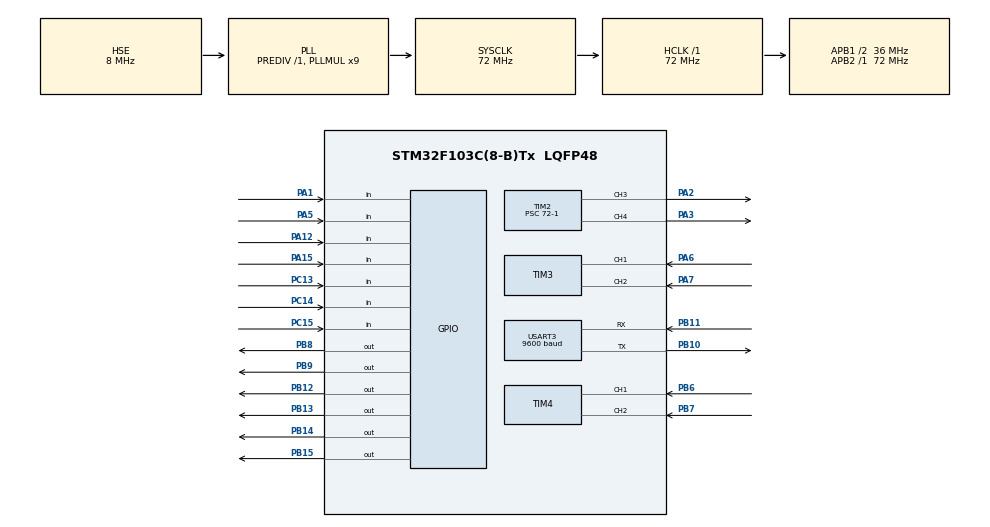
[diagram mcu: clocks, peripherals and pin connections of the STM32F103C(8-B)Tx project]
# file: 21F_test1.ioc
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Dma.Request0=USART3_RX
Dma.Request1=USART3_TX
Dma.USART3_RX.0.Direction=DMA_PERIPH_TO_MEMORY
Dma.USART3_RX.0.Instance=DMA1_Channel3
Dma.USART3_RX.0.MemDataAlignment=DMA_MDATAALIGN_BYTE
Dma.USART3_RX.0.MemInc=DMA_MINC_ENABLE
Dma.USART3_RX.0.Mode=DMA_NORMAL
Dma.USART3_RX.0.PeriphDataAlignment=DMA_PDATAALIGN_BYTE
Dma.USART3_RX.0.PeriphInc=DMA_PINC_DISABLE
Dma.USART3_RX.0.Priority=DMA_PRIORITY_HIGH
Dma.USART3_TX.1.Direction=DMA_MEMORY_TO_PERIPH
Dma.USART3_TX.1.Instance=DMA1_Channel2
Dma.USART3_TX.1.MemDataAlignment=DMA_MDATAALIGN_BYTE
Dma.USART3_TX.1.MemInc=DMA_MINC_ENABLE
Dma.USART3_TX.1.Mode=DMA_NORMAL
Dma.USART3_TX.1.PeriphDataAlignment=DMA_PDATAALIGN_BYTE
Dma.USART3_TX.1.PeriphInc=DMA_PINC_DISABLE
Dma.USART3_TX.1.Priority=DMA_PRIORITY_LOW
Mcu.Family=STM32F1
Mcu.Name=STM32F103C(8-B)Tx
Mcu.Package=LQFP48
NVIC.DMA1_Channel2_IRQn=true\:0\:0\:false\:false\:true\:false\:true\:true
NVIC.DMA1_Channel3_IRQn=true\:0\:0\:false\:false\:true\:false\:true\:true
NVIC.PriorityGroup=NVIC_PRIORITYGROUP_4
NVIC.TIM1_UP_IRQn=true\:14\:0\:true\:false\:true\:true\:true\:true
NVIC.USART3_IRQn=true\:15\:0\:true\:false\:true\:true\:true\:true
PA1.Signal=GPIO_Input
PA12.Signal=GPIO_Input
PA13.Mode=Serial_Wire
PA13.Signal=SYS_JTMS-SWDIO
PA14.Mode=Serial_Wire
PA14.Signal=SYS_JTCK-SWCLK
PA15.Signal=GPIO_Input
PA2.Signal=S_TIM2_CH3
PA3.Signal=S_TIM2_CH4
PA5.Signal=GPIO_Input
PA6.Signal=S_TIM3_CH1
PA7.Signal=S_TIM3_CH2
PB10.Mode=Asynchronous
PB10.Signal=USART3_TX
PB11.Mode=Asynchronous
PB11.Signal=USART3_RX
PB12.Signal=GPIO_Output
PB13.Signal=GPIO_Output
PB14.Signal=GPIO_Output
PB15.Signal=GPIO_Output
PB6.Signal=S_TIM4_CH1
PB7.Signal=S_TIM4_CH2
PB8.GPIO_PuPd=GPIO_PULLUP
PB8.PinState=GPIO_PIN_SET
PB8.Signal=GPIO_Output
PB9.GPIO_PuPd=GPIO_PULLUP
PB9.PinState=GPIO_PIN_SET
PB9.Signal=GPIO_Output
PC13-TAMPER-RTC.Signal=GPIO_Input
PC14-OSC32_IN.Signal=GPIO_Input
PC15-OSC32_OUT.Signal=GPIO_Input
PD0-OSC_IN.Mode=HSE-External-Oscillator
PD0-OSC_IN.Signal=RCC_OSC_IN
PD1-OSC_OUT.Mode=HSE-External-Oscillator
PD1-OSC_OUT.Signal=RCC_OSC_OUT
ProjectManager.HeapSize=0x200
ProjectManager.StackSize=0x400
ProjectManager.TargetToolchain=MDK-ARM V5.32
RCC.AHBFreq_Value=72000000
RCC.APB1CLKDivider=RCC_HCLK_DIV2
RCC.APB1Freq_Value=36000000
RCC.APB1TimFreq_Value=72000000
RCC.APB2Freq_Value=72000000
RCC.APB2TimFreq_Value=72000000
RCC.HCLKFreq_Value=72000000
RCC.PLLMUL=RCC_PLL_MUL9
RCC.PLLSourceVirtual=RCC_PLLSOURCE_HSE
RCC.SYSCLKFreq_VALUE=72000000
RCC.SYSCLKSource=RCC_SYSCLKSOURCE_PLLCLK
RCC.USBFreq_Value=72000000
SH.S_TIM2_CH3.0=TIM2_CH3,PWM Generation3 CH3
SH.S_TIM2_CH4.0=TIM2_CH4,PWM Generation4 CH4
SH.S_TIM3_CH1.0=TIM3_CH1,Encoder_Interface
SH.S_TIM3_CH2.0=TIM3_CH2,Encoder_Interface
SH.S_TIM4_CH1.0=TIM4_CH1,Encoder_Interface
SH.S_TIM4_CH2.0=TIM4_CH2,Encoder_Interface
TIM1.Period=200-1
TIM1.Prescaler=7200-1
TIM2.Channel-PWM\ Generation3\ CH3=TIM_CHANNEL_3
TIM2.Channel-PWM\ Generation4\ CH4=TIM_CHANNEL_4
TIM2.Period=100-1
TIM2.Prescaler=72-1
TIM3.EncoderMode=TIM_ENCODERMODE_TI12
TIM4.EncoderMode=TIM_ENCODERMODE_TI12
USART3.BaudRate=9600
USART3.VirtualMode=VM_ASYNC
VP_TIM1_VS_ClockSourceINT.Mode=Internal
VP_TIM2_VS_ClockSourceINT.Mode=Internal
board=custom

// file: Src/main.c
/* USER CODE BEGIN Header */
/**
 ******************************************************************************
 * @file           : main.c
 * @brief          : Main program body
 ******************************************************************************
 * @attention
 *
 * Copyright (c) 2025 STMicroelectronics.
 * All rights reserved.
 *
 * This software is licensed under terms that can be found in the LICENSE file
 * in the root directory of this software component.
 * If no LICENSE file comes with this software, it is provided AS-IS.
 *
 ******************************************************************************
 */
/* USER CODE END Header */
#include "main.h"
#include "dma.h"
#include "tim.h"
#include "usart.h"
#include "gpio.h"

/* USER CODE BEGIN Includes */
#include "motor.h"
#include "encoder.h"
#include "pid.h"
#include "xunji.h"
#include "inv_mpu.h"
#include "mpu6050.h"
#include "control.h"
#include "inv_mpu_dmp_motion_driver.h"
#include <math.h>
#include "bluetooth.h"

/* USER CODE END Includes */

/* USER CODE BEGIN PV */
uint8_t grey_watch = 0;

float pitch, roll, yaw;
short gyrox, gyroy, gyroz;
short aacx, aacy, aacz;
int g_speed_L, g_speed_R;
long g_total_encoder_cnt;

extern TIM_HandleTypeDef htim3, htim4;
extern DMA_HandleTypeDef hdma_usart3_rx;

extern _Bool is_turning;
extern int target_speed_L, target_speed_R;
extern int target_speed;

extern char received_data[110];
extern char send_data[50];

extern PID_Parameters para_temp;
/* USER CODE END PV */

void SystemClock_Config(void);

/* USER CODE BEGIN 0 */

// uart transmit
int fputc(int ch, FILE *f)
{
  HAL_UART_Transmit(&huart3, (uint8_t *)&ch, 1, 50);
  return ch;
}

// calibrate_gyro
uint32_t GyroTick = 0;
#define GYRO_TOLERANCE 0.2f // 容差 0.2°之内
#define STABLE_COUNT 110
_Bool Gyro_Calibration_Done = 0;
float YAW_MIDDLE;
void Calibrate_Gyro()
{
  if (!Gyro_Calibration_Done)
  {
    if (uwTick - GyroTick < 100)
      return; // 每100ms调用一次
    GyroTick = uwTick;

    float last_yaw = 0.0f;
    int same_count = 0;

    if (fabs(yaw - last_yaw) < GYRO_TOLERANCE)
      same_count++;
    else
      same_count = 0; // 清零

    last_yaw = yaw;

    if (same_count >= STABLE_COUNT)
    {
      YAW_MIDDLE = yaw;
      Gyro_Calibration_Done = 1;
    }
  }
}

// read speed & angle
uint32_t DataTick = 0;
void Get_Data(void)
{

  g_speed_L = -Read_Speed(&htim4);
  g_speed_R = Read_Speed(&htim3);
  g_total_encoder_cnt += ((g_speed_L + g_speed_R) / 2);

}

void HAL_TIM_PeriodElapsedCallback(TIM_HandleTypeDef *htim)
{
  if (htim == &htim1)
  {
    Get_Data();
  }
}
// control per 20ms
uint32_t CtrlTick = 0;
extern PID_Para PID_L, PID_R;
int motor0, motor1;
void Control(void)
{
  if (uwTick - CtrlTick < 20)
    return;
  CtrlTick = uwTick;

  mpu_dmp_get_data(&pitch, &roll, &yaw);
  MPU_Get_Gyroscope(&gyrox, &gyroy, &gyroz);
  MPU_Get_Accelerometer(&aacx, &aacy, &aacz);
  // control

  // Control_test0();

  PID_L.Kp = para_temp.kp0;
  PID_L.Ki = para_temp.ki0;
  PID_L.Kd = para_temp.kd0;
  PID_R.Kp = para_temp.kp1;
  PID_R.Ki = para_temp.ki1;
  PID_R.Kd = para_temp.kd1;
  // Bluetooth parameter tuning
  target_speed = (int)para_temp.target0;

  // Transmit the speed values via UART

  // HAL_UART_Transmit(&huart3, (uint8_t*)send_data, strlen(send_data), 100);
  pid_set_target(&PID_L, target_speed * 100.0f / 296);
  pid_set_target(&PID_R, target_speed * 100.0f / 274);
  motor0 = pid_control(g_speed_R * 100.0f / 274, &PID_R);

  motor1 = pid_control(g_speed_L * 100.0f / 296, &PID_L);

  Motor_Load(-motor1, motor0);
  sprintf(send_data, "{Left_Speed:%d,Right_Speed:%d,target:%d}|", g_speed_L, g_speed_R, target_speed); // Print the speed values
  printf("%s", send_data);
}

/* USER CODE END 0 */

int main(void)
{

  /* MCU Configuration--------------------------------------------------------*/

  /* Reset of all peripherals, Initializes the Flash interface and the Systick. */
  HAL_Init();

  /* Configure the system clock */
  SystemClock_Config();

  /* Initialize all configured peripherals */
  MX_GPIO_Init();
  MX_DMA_Init();
  MX_TIM2_Init();
  MX_TIM3_Init();
  MX_TIM4_Init();
  MX_USART3_UART_Init();
  MX_TIM1_Init();
  /* USER CODE BEGIN 2 */
  MPU_Init();
  mpu_dmp_init();
  HAL_TIM_PWM_Start(&htim2, TIM_CHANNEL_3);
  HAL_TIM_PWM_Start(&htim2, TIM_CHANNEL_4);
  HAL_TIM_Encoder_Start(&htim3, TIM_CHANNEL_ALL);
  HAL_TIM_Encoder_Start(&htim4, TIM_CHANNEL_ALL);
  HAL_TIM_Base_Start_IT(&htim1);

  HAL_UARTEx_ReceiveToIdle_DMA(&huart3, (uint8_t *)received_data, sizeof(received_data));
  // 关闭dma传输过半中断
  __HAL_DMA_DISABLE_IT(&hdma_usart3_rx, DMA_IT_HT);
  // HAL_UART_Receive_DMA(&huart3, (uint8_t *)received_data, sizeof(received_data));
  PID_xunji_Init();
  PID_mpu6050_Init();

  // Motor_Load(20,20);

  /* USER CODE END 2 */

  /* Infinite loop */
  /* USER CODE BEGIN WHILE */

  while (1)
  {
    Control();

    /* USER CODE END WHILE */

  }
}

void SystemClock_Config(void)
{
  RCC_OscInitTypeDef RCC_OscInitStruct = {0};
  RCC_ClkInitTypeDef RCC_ClkInitStruct = {0};

  /** Initializes the RCC Oscillators according to the specified parameters
  * in the RCC_OscInitTypeDef structure.
  */
  RCC_OscInitStruct.OscillatorType = RCC_OSCILLATORTYPE_HSE;
  RCC_OscInitStruct.HSEState = RCC_HSE_ON;
  RCC_OscInitStruct.HSEPredivValue = RCC_HSE_PREDIV_DIV1;
  RCC_OscInitStruct.HSIState = RCC_HSI_ON;
  RCC_OscInitStruct.PLL.PLLState = RCC_PLL_ON;
  RCC_OscInitStruct.PLL.PLLSource = RCC_PLLSOURCE_HSE;
  RCC_OscInitStruct.PLL.PLLMUL = RCC_PLL_MUL9;
  if (HAL_RCC_OscConfig(&RCC_OscInitStruct) != HAL_OK)
  {
    Error_Handler();
  }

  /** Initializes the CPU, AHB and APB buses clocks
  */
  RCC_ClkInitStruct.ClockType = RCC_CLOCKTYPE_HCLK|RCC_CLOCKTYPE_SYSCLK
                              |RCC_CLOCKTYPE_PCLK1|RCC_CLOCKTYPE_PCLK2;
  RCC_ClkInitStruct.SYSCLKSource = RCC_SYSCLKSOURCE_PLLCLK;
  RCC_ClkInitStruct.AHBCLKDivider = RCC_SYSCLK_DIV1;
  RCC_ClkInitStruct.APB1CLKDivider = RCC_HCLK_DIV2;
  RCC_ClkInitStruct.APB2CLKDivider = RCC_HCLK_DIV1;

  if (HAL_RCC_ClockConfig(&RCC_ClkInitStruct, FLASH_LATENCY_2) != HAL_OK)
  {
    Error_Handler();
  }
}

void Error_Handler(void)
{
  __disable_irq();
  while (1)
  {
  }
}
